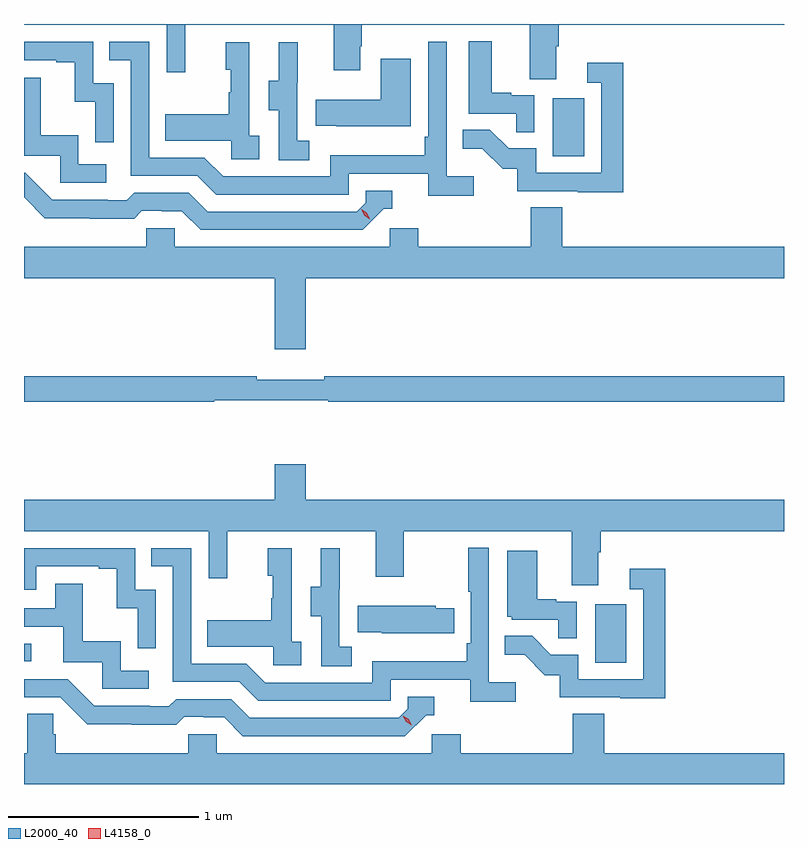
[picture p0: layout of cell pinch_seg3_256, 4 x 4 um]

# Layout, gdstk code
import gdstk
lib = gdstk.Library(unit=1e-6, precision=1e-09)
def R(c, l, rs):  # rectangles x0, y0, x1, y1
    for r in rs: c.add(gdstk.rectangle(r[:2], r[2:], *l))
def P(c, l, *ps):  # polygons
    for p in ps: c.add(gdstk.Polygon(p, *l))
L2000_40 = (2000, 40)
L4158_0 = (4158, 0)

pinch_seg3_256 = lib.new_cell('pinch_seg3_256')
R(pinch_seg3_256, L2000_40, [(897.962,722.868,898.126,723.175), (894.956,722.874,894.994,722.967), (897.74,725.532,897.904,725.839)])
P(pinch_seg3_256, L2000_40, [(897.757,726.112),(897.77,726.112),(897.77,726.224),(898.956,726.224),(898.956,726.229),(894.956,726.229),(894.956,726.224),(895.707,726.224),(895.707,725.976),(895.805,725.976),(895.805,726.224),(896.585,726.224),(896.585,725.985),(896.725,725.985),(896.725,726.113),(896.733,726.113),(896.733,726.224),(897.617,726.224),(897.617,725.938),(897.757,725.938)],
  [(897.642,725.853),(897.521,725.853),(897.521,725.866),(897.418,725.866),(897.418,726.139),(897.296,726.139),(897.296,725.757),(897.547,725.757),(897.547,725.659),(897.642,725.659)],
  [(897.322,725.428),(897.18,725.428),(897.18,726.136),(897.084,726.136),(897.084,725.635),(897.064,725.635),(897.064,725.539),(896.568,725.539),(896.568,725.427),(896.004,725.427),(895.905,725.526),(895.614,725.526),(895.614,726.135),(895.405,726.135),(895.405,726.039),(895.518,726.039),(895.518,725.43),(895.868,725.43),(895.967,725.331),(896.664,725.331),(896.664,725.442),(897.083,725.442),(897.083,725.326),(897.322,725.326)],
  [(895.428,725.916),(895.32,725.916),(895.32,726.135),(894.956,726.135),(894.956,726.039),(895.127,726.039),(895.127,726.027),(895.223,726.027),(895.223,725.819),(895.332,725.819),(895.332,725.607),(895.428,725.607)],
  [(896.458,725.615),(896.394,725.615),(896.394,725.919),(896.396,725.919),(896.396,726.133),(896.297,726.133),(896.297,725.931),(896.243,725.931),(896.243,725.776),(896.298,725.776),(896.298,725.512),(896.458,725.512)],
  [(896.194,725.642),(896.142,725.642),(896.142,726.133),(896.018,726.133),(896.018,725.988),(896.044,725.988),(896.044,725.87),(896.034,725.87),(896.034,725.755),(895.699,725.755),(895.699,725.615),(896.046,725.615),(896.046,725.517),(896.194,725.517)],
  [(896.992,726.046),(896.834,726.046),(896.834,725.83),(896.491,725.83),(896.491,725.693),(896.599,725.693),(896.599,725.69),(896.992,725.69)],
  [(898.109,726.025),(897.921,726.025),(897.921,725.919),(897.993,725.919),(897.993,725.445),(897.651,725.445),(897.651,725.574),(897.506,725.574),(897.408,725.672),(897.265,725.672),(897.265,725.573),(897.369,725.573),(897.476,725.466),(897.553,725.466),(897.553,725.349),(897.871,725.349),(897.871,725.344),(898.109,725.344)],
  [(895.39,725.49),(895.242,725.49),(895.242,725.644),(895.043,725.644),(895.043,725.947),(894.956,725.947),(894.956,725.535),(895.146,725.535),(895.146,725.394),(895.39,725.394)],
  [(896.85,725.256),(896.893,725.256),(896.893,725.352),(896.754,725.352),(896.754,725.289),(896.706,725.241),(895.923,725.241),(895.824,725.34),(895.535,725.34),(895.496,725.301),(895.397,725.301),(895.397,725.304),(895.104,725.304),(894.963,725.445),(894.956,725.445),(894.956,725.317),(895.066,725.207),(895.302,725.207),(895.302,725.205),(895.535,725.205),(895.577,725.247),(895.68,725.247),(895.68,725.244),(895.787,725.244),(895.886,725.145),(896.739,725.145)],
  [(896.44,724.892),(898.956,724.892),(898.956,725.056),(897.788,725.056),(897.788,725.264),(897.623,725.264),(897.623,725.056),(897.032,725.056),(897.032,725.154),(896.88,725.154),(896.88,725.056),(895.749,725.056),(895.749,725.154),(895.599,725.154),(895.599,725.056),(894.956,725.056),(894.956,724.892),(896.276,724.892),(896.276,724.518),(896.44,724.518)],
  [(895.958,724.248),(896.558,724.248),(896.558,724.24),(898.956,724.24),(898.956,724.376),(896.536,724.376),(896.536,724.357),(896.18,724.357),(896.18,724.376),(894.956,724.376),(894.956,724.24),(895.958,724.24)],
  [(897.979,723.448),(897.992,723.448),(897.992,723.56),(898.956,723.56),(898.956,723.724),(896.44,723.724),(896.44,723.913),(896.276,723.913),(896.276,723.724),(894.956,723.724),(894.956,723.56),(895.929,723.56),(895.929,723.312),(896.027,723.312),(896.027,723.56),(896.807,723.56),(896.807,723.321),(896.955,723.321),(896.955,723.56),(897.839,723.56),(897.839,723.274),(897.979,723.274)],
  [(897.544,722.764),(897.402,722.764),(897.402,723.472),(897.294,723.472),(897.294,723.241),(897.306,723.241),(897.306,722.971),(897.286,722.971),(897.286,722.875),(896.79,722.875),(896.79,722.763),(896.226,722.763),(896.127,722.862),(895.836,722.862),(895.836,723.471),(895.627,723.471),(895.627,723.375),(895.74,723.375),(895.74,722.766),(896.09,722.766),(896.189,722.667),(896.886,722.667),(896.886,722.778),(897.305,722.778),(897.305,722.662),(897.544,722.662)],
  [(895.65,723.252),(895.542,723.252),(895.542,723.471),(894.956,723.471),(894.956,723.252),(895.02,723.252),(895.02,723.375),(895.349,723.375),(895.349,723.363),(895.445,723.363),(895.445,723.155),(895.554,723.155),(895.554,722.943),(895.65,722.943)],
  [(896.416,722.978),(896.364,722.978),(896.364,723.469),(896.24,723.469),(896.24,723.324),(896.266,723.324),(896.266,723.206),(896.256,723.206),(896.256,723.091),(895.921,723.091),(895.921,722.951),(896.268,722.951),(896.268,722.853),(896.416,722.853)],
  [(896.68,722.951),(896.616,722.951),(896.616,723.255),(896.618,723.255),(896.618,723.469),(896.519,723.469),(896.519,723.267),(896.465,723.267),(896.465,723.112),(896.52,723.112),(896.52,722.848),(896.68,722.848)],
  [(897.864,723.189),(897.758,723.189),(897.758,723.202),(897.658,723.202),(897.658,723.457),(897.5,723.457),(897.5,723.108),(897.522,723.108),(897.522,723.093),(897.769,723.093),(897.769,722.995),(897.864,722.995)],
  [(898.331,723.361),(898.143,723.361),(898.143,723.255),(898.215,723.255),(898.215,722.781),(897.873,722.781),(897.873,722.91),(897.729,722.91),(897.631,723.008),(897.487,723.008),(897.487,722.909),(897.591,722.909),(897.698,722.802),(897.775,722.802),(897.775,722.685),(898.093,722.685),(898.093,722.68),(898.331,722.68)],
  [(895.612,722.826),(895.464,722.826),(895.464,722.98),(895.265,722.98),(895.265,723.283),(895.121,723.283),(895.121,723.153),(894.956,723.153),(894.956,723.057),(895.163,723.057),(895.163,722.871),(895.368,722.871),(895.368,722.73),(895.612,722.73)],
  [(897.221,723.153),(897.123,723.153),(897.123,723.166),(896.713,723.166),(896.713,723.029),(896.838,723.029),(896.838,723.023),(897.221,723.023)],
  [(897.072,722.592),(897.115,722.592),(897.115,722.688),(896.976,722.688),(896.976,722.625),(896.928,722.577),(896.145,722.577),(896.046,722.676),(895.757,722.676),(895.718,722.637),(895.619,722.637),(895.619,722.64),(895.326,722.64),(895.185,722.781),(894.956,722.781),(894.956,722.685),(895.146,722.685),(895.288,722.543),(895.524,722.543),(895.524,722.541),(895.757,722.541),(895.799,722.583),(895.902,722.583),(895.902,722.58),(896.009,722.58),(896.108,722.481),(896.961,722.481)],
  [(895.971,722.49),(895.821,722.49),(895.821,722.392),(895.124,722.392),(895.124,722.49),(895.109,722.49),(895.109,722.6),(894.972,722.6),(894.972,722.392),(894.956,722.392),(894.956,722.229),(898.956,722.229),(898.956,722.392),(898.01,722.392),(898.01,722.6),(897.845,722.6),(897.845,722.392),(897.254,722.392),(897.254,722.49),(897.102,722.49),(897.102,722.392),(895.971,722.392)])
P(pinch_seg3_256, L4158_0, [(896.998,722.538),(896.967,722.557),(896.95,722.589),(896.95,722.589),(896.95,722.589),(896.981,722.57),(896.998,722.538),(896.998,722.538)],
  [(896.776,725.202),(896.746,725.222),(896.73,725.255),(896.73,725.255),(896.73,725.255),(896.76,725.235),(896.776,725.202),(896.776,725.202)])

lib.write_gds('pinch_seg3_256.gds')
